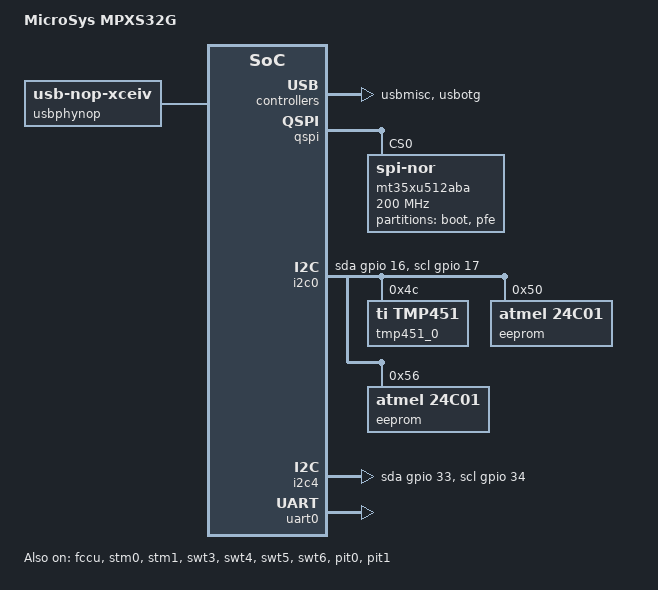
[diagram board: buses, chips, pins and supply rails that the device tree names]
/* SPDX-License-Identifier:    GPL-2.0+ */
/*
 * Copyright (C) 2023 MicroSys Electronics GmbH
 *
 */

#include <dt-bindings/gpio/gpio.h>
#include <dt-bindings/thermal/thermal.h>
#include <dt-bindings/thermal/lm90.h>

/ {
	model = "MicroSys MPXS32G";

	chosen {
		stdout-path = "serial0:115200n8";
	};

	usbphynop: usbphynop {
		compatible = "usb-nop-xceiv";
		#phy-cells = <0>;
	};

	/*
	thermal-zones {
		module_thermal: module_thermal {
			polling-delay-passive = <1000>;
			polling-delay = <1000>;

			thermal-sensors = <&tmp451_0>;
		};
	};
	*/
};

&{/aliases} {
	ethernet0 = &gmac0;
	ethernet1 = &pfe_netif0;
	ethernet2 = &pfe_netif1;
	ethernet3 = &pfe_netif2;
};

&usdhc0 {
	no-1-8-v;
};

&usbmisc {
	status = "okay";
};

&usbotg {
	pinctrl-names = "default";
	pinctrl-0 = <&usbotg_pins>;
	fsl,usbphy = <&usbphynop>;
	status = "okay";
};

&qspi {
	status = "okay";
	spi-max-frequency = <200000000>;

	/delete-node/ mx25uw51245g@0;

	mt35xu512aba@0 {
		#address-cells = <1>;
		#size-cells = <1>;
		compatible = "jedec,spi-nor";
		spi-max-frequency = <200000000>;
		spi-tx-bus-width = <8>;
		spi-rx-bus-width = <8>;
		reg = <0>;

		partition@0 {
			reg = <0 0x200000>;
			label = "boot";
		};

		partition@1 {
			reg = <0x3000000 0x28000>;
			label = "pfe";
		};
	};
};

&cluster0_l2_cache {
	status = "okay";
};

&cluster1_l2_cache {
	status = "okay";
};

&cpu0 {
	next-level-cache = <&cluster0_l2_cache>;
};

&cpu1 {
	next-level-cache = <&cluster0_l2_cache>;
};

&cpu2 {
	next-level-cache = <&cluster1_l2_cache>;
};

&cpu3 {
	next-level-cache = <&cluster1_l2_cache>;
};

&fccu {
	status = "okay";
};

&generic_timer {
	clock-frequency = <5000000>;
};

&edma0 {
	status = "okay";
};

&edma1 {
	status = "okay";
};

&i2c0 {
	pinctrl-names = "default", "gpio";
	pinctrl-0 = <&i2c0_pins>;
	pinctrl-1 = <&i2c0_gpio_pins>;
	scl-gpios = <&gpio 17 (GPIO_ACTIVE_HIGH | GPIO_OPEN_DRAIN)>;
	sda-gpios = <&gpio 16 (GPIO_ACTIVE_HIGH | GPIO_OPEN_DRAIN)>;
	status = "okay";

	tmp451_0: temp-sensor@4c {
		#thermal-sensor-cells = <0>;
		compatible = "ti,tmp451";
		reg = <0x4c>;
		extended-mode; // switch to extended temperature range from [-64..191]
	};

	eeprom@50 {
		compatible = "atmel,24c01";
		reg = <0x50>;
	};

	eeprom@56 {
		compatible = "atmel,24c01";
		reg = <0x56>;
	};
};

&i2c1 {
	pinctrl-names = "default", "gpio";
	pinctrl-0 = <&i2c1_pins>;
	pinctrl-1 = <&i2c1_gpio_pins>;
	scl-gpios = <&gpio 19 (GPIO_ACTIVE_HIGH | GPIO_OPEN_DRAIN)>;
	sda-gpios = <&gpio 20 (GPIO_ACTIVE_HIGH | GPIO_OPEN_DRAIN)>;
	status = "disabled";
};

&i2c2 {
	pinctrl-names = "default", "gpio";
	pinctrl-0 = <&i2c2_pins>;
	pinctrl-1 = <&i2c2_gpio_pins>;
	scl-gpios = <&gpio 21 (GPIO_ACTIVE_HIGH | GPIO_OPEN_DRAIN)>;
	sda-gpios = <&gpio 22 (GPIO_ACTIVE_HIGH | GPIO_OPEN_DRAIN)>;
	status = "disabled";
};

&i2c4 {
	pinctrl-names = "default", "gpio";
	pinctrl-0 = <&i2c4_pins>;
	pinctrl-1 = <&i2c4_gpio_pins>;
	scl-gpios = <&gpio 34 (GPIO_ACTIVE_HIGH | GPIO_OPEN_DRAIN)>;
	sda-gpios = <&gpio 33 (GPIO_ACTIVE_HIGH | GPIO_OPEN_DRAIN)>;
	status = "okay";
/*
	// PMIC: MVR5510AMDA
	dev@20 {
		reg = <0x20>;
	};
	dev@21 {
		reg = <0x21>;
	};
*/
};

&uart0 {
	pinctrl-names = "default";
	pinctrl-0 = <&uart0_pins>;
	status = "okay";
};

&uart1 {
	pinctrl-names = "default";
	pinctrl-0 = <&uart1_pins>;
	status = "disabled";
};

&uart2 {
	pinctrl-names = "default";
	pinctrl-0 = <&uart2_pins>;
	status = "disabled";
};

&spi0 {
	#address-cells = <1>;
	#size-cells = <0>;
	pinctrl-names = "default";
	pinctrl-0 = <&dspi0_pins>;
	status = "disabled";
};

&spi5 {
	#address-cells = <1>;
	#size-cells = <0>;
	pinctrl-names = "default";
	pinctrl-0 = <&dspi5_pins>;
	status = "disabled";
};

&can2 {
	pinctrl-names = "default";
	pinctrl-0 = <&can2_pins>;
	status = "disabled";
};

&can3 {
	pinctrl-names = "default";
	pinctrl-0 = <&can3_pins>;
	status = "disabled";
};

&gmac0_mdio {
	status = "disabled";
};

&pfe_mdio0 {
	status = "disabled";
};

&pfe_mdio1 {
	status = "disabled";
};

&pfe_mdio2 {
	status = "disabled";
};

&stm0 {
	status = "okay";
};

&stm1 {
	status = "okay";
};

&fccu {
	status = "okay";
};

&swt3 {
	status = "okay";
};

&swt4 {
	status = "okay";
};

&swt5 {
	status = "okay";
};

&swt6 {
	status = "okay";
};

&pit0 {
	status = "okay";
};

&pit1 {
	status = "okay";
};

&pinctrl {
	status = "okay";

	uart0_pins: uart0_pins {
	/*
		PC09/PC10: LIN0
	*/
		uart0_grp0 {
			pinmux = <S32CC_PINMUX(41, FUNC1)>;
			output-enable;
			slew-rate = <S32CC_SLEW_208MHZ>;
		};

		uart0_grp1 {
			pinmux = <S32CC_PINMUX(42, FUNC0)>;
			input-enable;
			slew-rate = <S32CC_SLEW_208MHZ>;
		};

		uart0_grp2 {
			pinmux = <S32CC_PINMUX(512, FUNC2)>;
		};
	};

	uart1_pins: uart1_pins {
	/*
		PC08/PC04: LLCE_LIN1
	*/
		uart1_grp0 {
			pinmux = <S32CC_PINMUX(40, FUNC2)>;
			output-enable;
			slew-rate = <S32CC_SLEW_208MHZ>;
		};

		uart1_grp1 {
			pinmux = <S32CC_PINMUX(36, FUNC0)>;
			input-enable;
			slew-rate = <S32CC_SLEW_208MHZ>;
		};

		uart1_grp2 {
			pinmux = <S32CC_PINMUX(736, FUNC4)>;
		};
	};

	uart2_pins: uart2_pins {
	/*
		PB11/PB12: LIN2
	*/
		uart2_grp0 {
			pinmux = <S32CC_PINMUX(27, FUNC3)>;
			output-enable;
			slew-rate = <S32CC_SLEW_208MHZ>;
		};

		uart2_grp1 {
			pinmux = <S32CC_PINMUX(28, FUNC0)>;
			input-enable;
			slew-rate = <S32CC_SLEW_208MHZ>;
		};

		uart2_grp2 {
			pinmux = <S32CC_PINMUX(737, FUNC2)>;
		};
	};

	usbotg_pins: usbotg_pins {
		usbotg_grp0 {
			pinmux = <S32CC_PINMUX(896, FUNC2)>,
				 <S32CC_PINMUX(897, FUNC2)>,
				 <S32CC_PINMUX(898, FUNC2)>,
				 <S32CC_PINMUX(899, FUNC2)>,
				 <S32CC_PINMUX(900, FUNC2)>,
				 <S32CC_PINMUX(901, FUNC2)>,
				 <S32CC_PINMUX(902, FUNC2)>,
				 <S32CC_PINMUX(903, FUNC2)>,
				 <S32CC_PINMUX(895, FUNC2)>,
				 <S32CC_PINMUX(904, FUNC2)>,
				 <S32CC_PINMUX(905, FUNC2)>;
		};

		usbotg_grp1 {
			pinmux = <S32CC_PINMUX(62, FUNC1)>,
				 <S32CC_PINMUX(63, FUNC1)>,
				 <S32CC_PINMUX(64, FUNC1)>,
				 <S32CC_PINMUX(65, FUNC1)>,
				 <S32CC_PINMUX(188, FUNC1)>,
				 <S32CC_PINMUX(189, FUNC1)>,
				 <S32CC_PINMUX(190, FUNC1)>,
				 <S32CC_PINMUX(112, FUNC1)>;
			output-enable;
			input-enable;
			slew-rate = <S32CC_SLEW_208MHZ>;
		};

		usbotg_grp2 {
			pinmux = <S32CC_PINMUX(184, FUNC0)>,
				 <S32CC_PINMUX(185, FUNC0)>,
				 <S32CC_PINMUX(187, FUNC0)>;
			input-enable;
			slew-rate = <S32CC_SLEW_208MHZ>;
		};

		usbotg_grp3 {
			pinmux = <S32CC_PINMUX(186, FUNC1)>;
			output-enable;
			slew-rate = <S32CC_SLEW_208MHZ>;
		};

	};

	i2c0_pins: i2c0_pins {
		i2c0_grp0 {
			pinmux = <S32CC_PINMUX(16, FUNC1)>,
				 <S32CC_PINMUX(17, FUNC1)>;
			drive-open-drain;
			output-enable;
			input-enable;
			slew-rate = <S32CC_SLEW_83MHZ>;
		};

		i2c0_grp1 {
			pinmux = <S32CC_PINMUX(565, FUNC2)>,
				 <S32CC_PINMUX(566, FUNC2)>;
		};

	};

	i2c0_gpio_pins: i2c0_gpio {
		i2c0_gpio_grp0 {
			pinmux = <S32CC_PINMUX(16, FUNC0)>,
				 <S32CC_PINMUX(17, FUNC0)>;
			drive-open-drain;
			output-enable;
			slew-rate = <S32CC_SLEW_208MHZ>;
		};

		i2c0_gpio_grp1 {
			pinmux = <S32CC_PINMUX(565, FUNC0)>,
				 <S32CC_PINMUX(566, FUNC0)>;
		};

	};

	i2c1_pins: i2c1_pins {
		i2c1_grp0 {
			pinmux = <S32CC_PINMUX(19, FUNC1)>,
				 <S32CC_PINMUX(20, FUNC1)>;
			drive-open-drain;
			output-enable;
			input-enable;
			slew-rate = <S32CC_SLEW_83MHZ>;
		};

		i2c1_grp1 {
			pinmux = <S32CC_PINMUX(717, FUNC2)>,
				 <S32CC_PINMUX(718, FUNC2)>;
		};

	};

	i2c1_gpio_pins: i2c1_gpio {
		i2c1_gpio_grp0 {
			pinmux = <S32CC_PINMUX(19, FUNC0)>,
				 <S32CC_PINMUX(20, FUNC0)>;
			drive-open-drain;
			output-enable;
			slew-rate = <S32CC_SLEW_208MHZ>;
		};

		i2c1_gpio_grp1 {
			pinmux = <S32CC_PINMUX(717, FUNC0)>,
				 <S32CC_PINMUX(718, FUNC0)>;
		};

	};

	i2c2_pins: i2c2_pins {
		i2c2_grp0 {
			pinmux = <S32CC_PINMUX(21, FUNC1)>,
				 <S32CC_PINMUX(22, FUNC1)>;
			drive-open-drain;
			output-enable;
			input-enable;
			slew-rate = <S32CC_SLEW_83MHZ>;
		};

		i2c2_grp1 {
			pinmux = <S32CC_PINMUX(719, FUNC2)>,
				 <S32CC_PINMUX(720, FUNC2)>;
		};

	};

	i2c2_gpio_pins: i2c2_gpio {
		i2c2_gpio_grp0 {
			pinmux = <S32CC_PINMUX(21, FUNC0)>,
				 <S32CC_PINMUX(22, FUNC0)>;
			drive-open-drain;
			output-enable;
			slew-rate = <S32CC_SLEW_208MHZ>;
		};

		i2c2_gpio_grp1 {
			pinmux = <S32CC_PINMUX(719, FUNC0)>,
				 <S32CC_PINMUX(720, FUNC0)>;
		};

	};

	i2c4_pins: i2c4_pins {
		i2c4_grp0 {
			pinmux = <S32CC_PINMUX(33, FUNC1)>;
			drive-open-drain;
			output-enable;
			input-enable;
			slew-rate = <S32CC_SLEW_83MHZ>;
		};

		i2c4_grp1 {
			pinmux = <S32CC_PINMUX(724, FUNC3)>,
				 <S32CC_PINMUX(723, FUNC3)>;
		};

		i2c4_grp2 {
			pinmux = <S32CC_PINMUX(34, FUNC2)>;
			drive-open-drain;
			output-enable;
			input-enable;
			slew-rate = <S32CC_SLEW_83MHZ>;
		};

	};

	i2c4_gpio_pins: i2c4_gpio {
		i2c4_gpio_grp0 {
			pinmux = <S32CC_PINMUX(33, FUNC0)>,
				 <S32CC_PINMUX(34, FUNC0)>;
			drive-open-drain;
			output-enable;
			slew-rate = <S32CC_SLEW_208MHZ>;
		};

		i2c4_gpio_grp1 {
			pinmux = <S32CC_PINMUX(724, FUNC0)>,
				 <S32CC_PINMUX(723, FUNC0)>;
		};

	};

	dspi0_pins: dspi0_pins {
		dspi0_grp0 {
			pinmux = <S32CC_PINMUX(13, FUNC1)>,
				 <S32CC_PINMUX(15, FUNC1)>;
			output-enable;
			slew-rate = <S32CC_SLEW_208MHZ>;
		};

		dspi0_grp1 {
			pinmux = <S32CC_PINMUX(14, FUNC0)>;
			input-enable;
			slew-rate = <S32CC_SLEW_208MHZ>;
			bias-pull-up;
		};

		dspi0_grp2 {
			pinmux = <S32CC_PINMUX(982, FUNC2)>;
		};

		dspi0_grp3 {
			pinmux = <S32CC_PINMUX(25, FUNC5)>;
			output-enable;
			slew-rate = <S32CC_SLEW_208MHZ>;
			bias-pull-up;
		};

		dspi0_grp4 {
			pinmux = <S32CC_PINMUX(26, FUNC3)>;
			output-enable;
			slew-rate = <S32CC_SLEW_208MHZ>;
			bias-pull-up;
		};

	};

	dspi5_pins: dspi5_pins {
		dspi5_grp0 {
			pinmux = <S32CC_PINMUX(9, FUNC3)>,
				 <S32CC_PINMUX(11, FUNC3)>;
			output-enable;
			slew-rate = <S32CC_SLEW_208MHZ>;
		};

		dspi5_grp1 {
			pinmux = <S32CC_PINMUX(10, FUNC0)>;
			input-enable;
			slew-rate = <S32CC_SLEW_208MHZ>;
			bias-pull-up;
		};

		dspi5_grp2 {
			pinmux = <S32CC_PINMUX(1007, FUNC2)>;
		};

		dspi5_grp3 {
			pinmux = <S32CC_PINMUX(12, FUNC3)>;
			output-enable;
			slew-rate = <S32CC_SLEW_208MHZ>;
			bias-pull-up;
		};

	};

	pfe0mdiob_pins: pfe0mdiob {
		pfe0mdiob_grp0 {
			pinmux = <S32CC_PINMUX(82, FUNC1)>;
			output-enable;
			slew-rate = <S32CC_SLEW_208MHZ>;
		};

		pfe0mdiob_grp1 {
			pinmux = <S32CC_PINMUX(79, FUNC1)>;
			output-enable;
			input-enable;
			slew-rate = <S32CC_SLEW_208MHZ>;
		};

		pfe0mdiob_grp2 {
			pinmux = <S32CC_PINMUX(837, FUNC2)>;
		};
	};

	pfe2mdiob_pins: pfe2mdiob {
		pfe2mdiob_grp0 {
			pinmux = <S32CC_PINMUX(82, FUNC2)>;
			output-enable;
			slew-rate = <S32CC_SLEW_208MHZ>;
		};

		pfe2mdiob_grp1 {
			pinmux = <S32CC_PINMUX(79, FUNC2)>;
			output-enable;
			input-enable;
			slew-rate = <S32CC_SLEW_208MHZ>;
		};

		pfe2mdiob_grp2 {
			pinmux = <S32CC_PINMUX(877, FUNC3)>;
		};
	};

	pfe2rgmiib_pins: pfe2rgmiib {
		pfe2rgmiib_grp0 {
			pinmux = <S32CC_PINMUX(78, FUNC2)>,
				 <S32CC_PINMUX(144, FUNC2)>,
				 <S32CC_PINMUX(113, FUNC2)>,
				 <S32CC_PINMUX(114, FUNC2)>,
				 <S32CC_PINMUX(115, FUNC2)>;
			output-enable;
			slew-rate = <S32CC_SLEW_208MHZ>;
		};

		pfe2rgmiib_grp1 {
			pinmux = <S32CC_PINMUX(116, FUNC0)>,
				 <S32CC_PINMUX(117, FUNC0)>,
				 <S32CC_PINMUX(118, FUNC0)>,
				 <S32CC_PINMUX(119, FUNC0)>,
				 <S32CC_PINMUX(120, FUNC0)>,
				 <S32CC_PINMUX(121, FUNC0)>;
			input-enable;
			slew-rate = <S32CC_SLEW_208MHZ>;
		};

		pfe2rgmiib_grp2 {
			pinmux = <S32CC_PINMUX(879, FUNC3)>,
				 <S32CC_PINMUX(885, FUNC3)>,
				 <S32CC_PINMUX(881, FUNC3)>,
				 <S32CC_PINMUX(882, FUNC3)>,
				 <S32CC_PINMUX(883, FUNC3)>,
				 <S32CC_PINMUX(884, FUNC3)>,
				 <S32CC_PINMUX(886, FUNC3)>;
		};

		pfe2rgmiib_grp3 {
			pinmux = <S32CC_PINMUX(122, FUNC2)>;
			output-enable;
			slew-rate = <S32CC_SLEW_208MHZ>;
			bias-pull-up;
		};

	};

	pfe1mdioc_pins: pfe1mdioc {
		pfe1mdioc_grp0 {
			pinmux = <S32CC_PINMUX(60, FUNC2)>;
			output-enable;
			slew-rate = <S32CC_SLEW_208MHZ>;
		};

		pfe1mdioc_grp1 {
			pinmux = <S32CC_PINMUX(61, FUNC2)>;
			output-enable;
			input-enable;
			slew-rate = <S32CC_SLEW_208MHZ>;
		};

		pfe1mdioc_grp2 {
			pinmux = <S32CC_PINMUX(857, FUNC2)>;
		};

	};

	pfe1rgmiic_pins: pfe1rgmiic {
		pfe1rgmiic_grp0 {
			pinmux = <S32CC_PINMUX(66, FUNC2)>;
			output-enable;
			slew-rate = <S32CC_SLEW_208MHZ>;
			bias-pull-up;
		};

		pfe1rgmiic_grp1 {
			pinmux = <S32CC_PINMUX(866, FUNC2)>,
				 <S32CC_PINMUX(859, FUNC2)>,
				 <S32CC_PINMUX(865, FUNC2)>,
				 <S32CC_PINMUX(861, FUNC2)>,
				 <S32CC_PINMUX(862, FUNC2)>,
				 <S32CC_PINMUX(863, FUNC2)>,
				 <S32CC_PINMUX(864, FUNC2)>;
		};

		pfe1rgmiic_grp2 {
			pinmux = <S32CC_PINMUX(67, FUNC2)>,
				 <S32CC_PINMUX(68, FUNC2)>,
				 <S32CC_PINMUX(69, FUNC2)>,
				 <S32CC_PINMUX(70, FUNC2)>;
			output-enable;
			slew-rate = <S32CC_SLEW_208MHZ>;
		};

		pfe1rgmiic_grp3 {
			pinmux = <S32CC_PINMUX(71, FUNC3)>;
			output-enable;
			slew-rate = <S32CC_SLEW_208MHZ>;
		};

		pfe1rgmiic_grp4 {
			pinmux = <S32CC_PINMUX(72, FUNC0)>,
				 <S32CC_PINMUX(73, FUNC0)>,
				 <S32CC_PINMUX(74, FUNC0)>,
				 <S32CC_PINMUX(75, FUNC0)>,
				 <S32CC_PINMUX(76, FUNC0)>,
				 <S32CC_PINMUX(77, FUNC0)>;
			input-enable;
			slew-rate = <S32CC_SLEW_208MHZ>;
		};

	};

	can2_pins: can2_pins {
		can2_grp0 {
			pinmux = <S32CC_PINMUX(27, FUNC2)>;
			output-enable;
			slew-rate = <S32CC_SLEW_150MHZ>;
		};

		can2_grp1 {
			pinmux = <S32CC_PINMUX(28, FUNC0)>;
			input-enable;
			slew-rate = <S32CC_SLEW_208MHZ>;
		};

		can2_grp2 {
			pinmux = <S32CC_PINMUX(632, FUNC2)>;
		};

	};

	can3_pins: can3_pins {
		can3_grp0 {
			pinmux = <S32CC_PINMUX(29, FUNC1)>;
			output-enable;
			slew-rate = <S32CC_SLEW_150MHZ>;
		};

		can3_grp1 {
			pinmux = <S32CC_PINMUX(30, FUNC0)>;
			input-enable;
			slew-rate = <S32CC_SLEW_208MHZ>;
		};

		can3_grp2 {
			pinmux = <S32CC_PINMUX(633, FUNC3)>;
		};

	};

};
